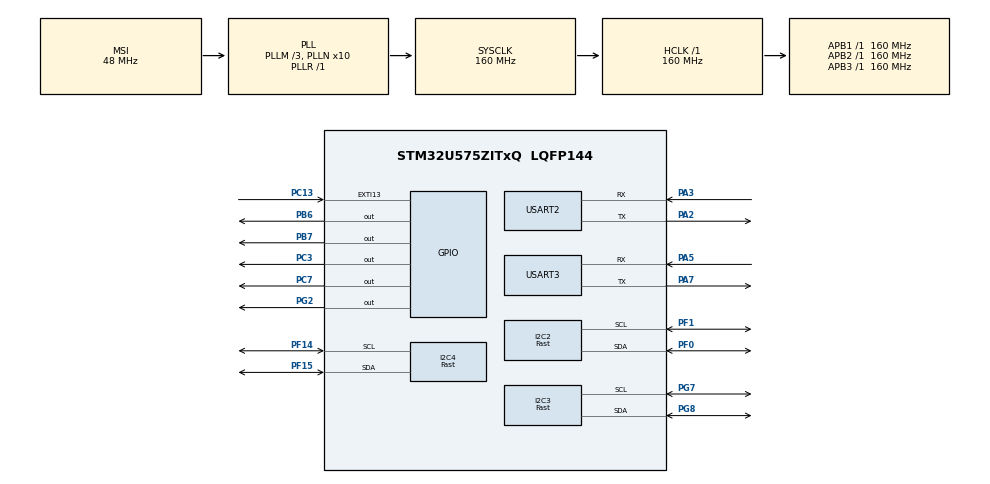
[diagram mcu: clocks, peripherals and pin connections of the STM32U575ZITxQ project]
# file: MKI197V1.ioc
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CORTEX_M33_NS.userName=CORTEX_M33
I2C2.I2C_Speed_Mode=I2C_Fast
I2C2.Timing=0x00F07BFF
I2C3.I2C_Speed_Mode=I2C_Fast
I2C3.Timing=0x00F07BFF
I2C4.I2C_Speed_Mode=I2C_Fast
I2C4.Timing=0x00F07BFF
Mcu.Family=STM32U5
Mcu.Name=STM32U575ZITxQ
Mcu.Package=LQFP144
NUCLEO-U575ZI-Q.BUTTON=1
NUCLEO-U575ZI-Q.LD1=true
NUCLEO-U575ZI-Q.LD2=true
NUCLEO-U575ZI-Q.LD3=true
NUCLEO-U575ZI-Q.VCP=true
NVIC.EXTI13_IRQn=true\:0\:0\:false\:false\:true\:false\:true\:true
NVIC.PriorityGroup=NVIC_PRIORITYGROUP_3
NVIC.TIM17_IRQn=true\:7\:0\:false\:false\:true\:false\:true\:true
NVIC.TimeBase=TIM17_IRQn
NVIC.TimeBaseIP=TIM17
PA10.Signal=USART1_RX
PA13\ (JTMS/SWDIO).Signal=DEBUG_JTMS-SWDIO
PA14\ (JTCK/SWCLK).Signal=DEBUG_JTCK-SWCLK
PA2.Mode=Asynchronous
PA2.Signal=USART2_TX
PA3.Mode=Asynchronous
PA3.Signal=USART2_RX
PA5.Mode=Asynchronous
PA5.Signal=USART3_RX
PA7.Mode=Asynchronous
PA7.Signal=USART3_TX
PA9.Signal=USART1_TX
PB3\ (JTDO/TRACESWO).Signal=DEBUG_JTDO-SWO
PB6.Signal=GPIO_Output
PB7.Signal=GPIO_Output
PC13.Signal=GPXTI13
PC14-OSC32_IN\ (PC14).Signal=RCC_OSC32_IN
PC15-OSC32_OUT\ (PC15).Signal=RCC_OSC32_OUT
PC3.Signal=GPIO_Output
PC7.Signal=GPIO_Output
PF0.Mode=I2C
PF0.Signal=I2C2_SDA
PF1.Mode=I2C
PF1.Signal=I2C2_SCL
PF14.Mode=I2C
PF14.Signal=I2C4_SCL
PF15.Mode=I2C
PF15.Signal=I2C4_SDA
PG2.Signal=GPIO_Output
PG7.Mode=I2C
PG7.Signal=I2C3_SCL
PG8.Mode=I2C
PG8.Signal=I2C3_SDA
PWR.PowerMode=PWR_SMPS_SUPPLY
ProjectManager.HeapSize=0x200
ProjectManager.StackSize=0x400
ProjectManager.TargetToolchain=STM32CubeIDE
RCC.ADCFreq_Value=16000000
RCC.AHBFreq_Value=160000000
RCC.APB1Freq_Value=160000000
RCC.APB1TimFreq_Value=160000000
RCC.APB2Freq_Value=160000000
RCC.APB2TimFreq_Value=160000000
RCC.APB3Freq_Value=160000000
RCC.CortexFreq_Value=160000000
RCC.DACCLockSelectionVirtual=RCC_DAC1CLKSOURCE_LSI
RCC.EPOD_VALUE=48000000
RCC.HCLKFreq_Value=160000000
RCC.HSE_VALUE=16000000
RCC.HSI48_VALUE=48000000
RCC.HSI_VALUE=16000000
RCC.LSE_VALUE=32768
RCC.LSIDIV_VALUE=32000
RCC.MSIClockRange=RCC_MSIRANGE_0
RCC.MSI_VALUE=48000000
RCC.PLL1R=1
RCC.PLL2FRACN=0
RCC.PLL3FRACN=0
RCC.PLLFRACN=0
RCC.PLLM=3
RCC.PLLN=10
RCC.SYSCLKFreq_VALUE=160000000
RCC.SYSCLKSource=RCC_SYSCLKSOURCE_PLLCLK
RCC.USBFreq_Value=48000000
RCC.VCOOutputFreq_Value=160000000
USART2.VirtualMode-Asynchronous=VM_ASYNC
USART3.VirtualMode-Asynchronous=VM_ASYNC
VP_ICACHE_VS_ENABLE_ICACHE_MEMORY.Mode=Memoryregions
VP_ICACHE_VS_ICACHE.Mode=DirectMappedCache
VP_LPBAMQUEUE_VS_QUEUE.Mode=QUEUEMODE
VP_LPBAM_VS_SIG1.Mode=SmartRun
VP_LPBAM_VS_SIG4.Mode=LPDMA1
VP_MEMORYMAP_VS_MEMORYMAP.Mode=CurAppReg
VP_NUCLEO-U575ZI-Q_VS_BSP_COMMON.Mode=COMMON
VP_PWR_VS_DBSignals.Mode=DisableDeadBatterySignals
VP_PWR_VS_LPOM.Mode=PowerOptimisation
VP_PWR_VS_SECSignals.Mode=Security/Privilege
VP_SYS_VS_tim17.Mode=TIM17
board=NUCLEO-U575ZI-Q

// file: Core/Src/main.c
/* USER CODE BEGIN Header */
/**
  ******************************************************************************
  * @file           : main.c
  * @brief          : Main program body
  ******************************************************************************
  * @attention
  *
  * Copyright (c) 2025 STMicroelectronics.
  * All rights reserved.
  *
  * This software is licensed under terms that can be found in the LICENSE file
  * in the root directory of this software component.
  * If no LICENSE file comes with this software, it is provided AS-IS.
  *
  ******************************************************************************
  */
/* USER CODE END Header */
#include "main.h"

/* USER CODE BEGIN Includes */
#include "bmi2.h"
#include "mis2dh.h"
#include "lsm6dsox.h"
#include "bmi270.h"
#include "pitch_utils.h"
#include "angle.h"
#include "motion_analysis.h"
#include "uart_comm.h"
#include "calibratebasepitch.h"
#include "gyro_calibration.h"
#include <stdio.h>
#include <string.h>

/* USER CODE END Includes */

COM_InitTypeDef BspCOMInit;

I2C_HandleTypeDef hi2c2;
I2C_HandleTypeDef hi2c3;
I2C_HandleTypeDef hi2c4;

UART_HandleTypeDef huart2;
UART_HandleTypeDef huart3;

/* USER CODE BEGIN PV */
// Globale Variablen für BMI270
/* USER CODE END PV */

void SystemClock_Config(void);
static void SystemPower_Config(void);
static void MX_GPIO_Init(void);
static void MX_ICACHE_Init(void);
static void MX_I2C2_Init(void);
static void MX_USART2_UART_Init(void);
static void MX_USART3_UART_Init(void);
static void MX_I2C4_Init(void);
static void MX_I2C3_Init(void);
/* USER CODE BEGIN PFP */
#define DEMCR *((volatile uint32_t*) 0xE000EDFCu)
#define ITM_TCR     (*(volatile uint32_t*)0xE0000E80)
#define ITM_TER     (*(volatile uint32_t*)0xE0000E00)

void Enable_ITM_Trace(void) {
    DEMCR |= (1 << 24);    // TRCENA: enable trace and debug
    ITM_TCR |= 1;          // ITM enable
    ITM_TER |= 1;          // Stimulus port 0 enable
}

/* USER CODE END PFP */

/* USER CODE BEGIN 0 */

// function to get the Address of the pin I2C
void scan_i2c_bus(I2C_HandleTypeDef *hi2c) {
    printf("Scanning I2C bus...\r\n");
    for (uint8_t addr = 0; addr < 128; addr++) {
        if (HAL_I2C_IsDeviceReady(hi2c, addr << 1, 1, 10) == HAL_OK) {
            printf("Found device at 0x%02X\r\n", addr);
        }
    }
}

// for mis2dh
// --- simple mg scaling for MIS2DH HR mode (typical sensitivities) ---
static float mis2dh_lsb_to_mg(int16_t raw, mis2dh_fs_t fs) {
    float mg_per_lsb = 1.0f; // ±2g
    switch (fs) {
        case MIS2DH_FS_2G:  mg_per_lsb = 1.0f;  break;
        case MIS2DH_FS_4G:  mg_per_lsb = 2.0f;  break;
        case MIS2DH_FS_8G:  mg_per_lsb = 4.0f;  break;
        case MIS2DH_FS_16G: mg_per_lsb = 12.0f; break;
    }
    return raw * mg_per_lsb;
}

// --- Mini I2C-Scanner --------------------------
static void I2C_Scan(I2C_HandleTypeDef *hi2c)
{
    printf("\r\n[I2C] Scanning bus...\r\n");

    for (uint8_t addr7 = 0x03; addr7 < 0x78; addr7++) {
        uint16_t addr8 = addr7 << 1;  // HAL erwartet 8-bit-Adresse
        if (HAL_I2C_IsDeviceReady(hi2c, addr8, 2, 10) == HAL_OK) {
            printf("  -> Found device at 7-bit 0x%02X (8-bit 0x%02X)\r\n", addr7, addr8);
        }
    }

    printf("[I2C] Scan done.\r\n");
}
// -----------------------------------------------

// für UART Ausgabe
//int _write(int file, char *ptr, int len)
//{
//  for (int i = 0; i < len; i++)
//  {
//    ITM_SendChar((uint32_t)*ptr++);
//  }
//  return len;
//}

/* Debug Exception and Monitor Control Register base address */
/* ITM register addresses */
#define ITM_STIMULUS_PORT0 *((volatile uint32_t*) 0xE0000000u)
#define ITM_TRACE_EN *((volatile uint32_t*) 0xE0000E00u)
/* Send a char through ITM */

/* USER CODE END 0 */

int main(void)
{

  /* MCU Configuration--------------------------------------------------------*/

  /* Reset of all peripherals, Initializes the Flash interface and the Systick. */
  HAL_Init();

  /* Configure the System Power */
  SystemPower_Config();

  /* Configure the system clock */
  SystemClock_Config();

  /* Initialize all configured peripherals */
  MX_GPIO_Init();
  MX_ICACHE_Init();
  MX_I2C2_Init();
  MX_USART2_UART_Init();
  MX_USART3_UART_Init();
  MX_I2C4_Init();
  MX_I2C3_Init();
  /* USER CODE BEGIN 2 */
  //Enable_ITM_Trace();
  // <--- WICHTIG!

  /* USER CODE END 2 */

  /* Initialize leds */
  BSP_LED_Init(LED_GREEN);
  BSP_LED_Init(LED_BLUE);
  BSP_LED_Init(LED_RED);

  /* Initialize USER push-button, will be used to trigger an interrupt each time it's pressed.*/
  BSP_PB_Init(BUTTON_USER, BUTTON_MODE_EXTI);

  /* Initialize COM1 port (115200, 8 bits (7-bit data + 1 stop bit), no parity */
  BspCOMInit.BaudRate   = 115200;
  BspCOMInit.WordLength = COM_WORDLENGTH_8B;
  BspCOMInit.StopBits   = COM_STOPBITS_1;
  BspCOMInit.Parity     = COM_PARITY_NONE;
  BspCOMInit.HwFlowCtl  = COM_HWCONTROL_NONE;
  if (BSP_COM_Init(COM1, &BspCOMInit) != BSP_ERROR_NONE)
  {
    Error_Handler();
  }

  /* Infinite loop */
  /* USER CODE BEGIN WHILE */

  HAL_Delay(10);
  /* für Sensor MKI197V1*/
  LSM6DSOX_Init(&hi2c2);

  // sensor mis2dh

//  uint16_t mis2dh_addr = MIS2DH_SA0_LOW_ADDR; // or MIS2DH_SA0_LOW_ADDR
//  HAL_Delay(10);
//
//  if (!MIS2DH_Init(&hi2c3, mis2dh_addr, MIS2DH_ODR_100HZ, MIS2DH_FS_2G, false)) {
//      printf("MIS2DH init failed\r\n");
//      I2C_Scan(&hi2c3);
//      Error_Handler();
//  }
//  printf("MIS2DH ready\r\n");
//
//  int16_t ax, ay, az;               // declare ONCE
//  const mis2dh_fs_t fs = MIS2DH_FS_2G;

// Sensor bmi270
  /* BMI270 Init (I2C4) */
//  if (HAL_I2C_IsDeviceReady(&hi2c4, BMI270_I2C_ADDR, 2, 100) != HAL_OK) {
//      printf("BMI270 not responding at 0x%02X\r\n", BMI270_I2C_ADDR >> 1);
//      Error_Handler();
//  }
//  if (!BMI270_Init(&hi2c4)) {
//      printf("BMI270 init failed!\r\n");
//      Error_Handler();
//  }

//  bmi2_set_command_register(BMI2_FIFO_FLUSH_CMD, BMI270_GetDev());

  HAL_Delay(30); // FIFO mit ersten Samples füllen

  float base_pitch = CalibrateBasePitch(&hi2c2);
  float gyroBias = CalibrateGyroBias(&hi2c2);

  //float base_pitch = Get_Base_Pitch(&hi2c2);
  printf("Basiswinkel=%.2f°, GyroBias=%.2f°/s\n", base_pitch, gyroBias);

  while (1)
  {

	    // für Sensor MKI197V1
	    Motion_Process_Improved(&hi2c2, base_pitch, gyroBias, HAL_GetTick());
	    //I2C_Scan(&hi2c2);

	    // für Sensor BMI270
	  //Motion_Process_270(&hi2c4, base_pitch, gyroBias, HAL_GetTick());

	  // für MIS2dh sensor
//      if (mis2dh_readxyz(&hi2c3, mis2dh_addr, &ax, &ay, &az) == hal_ok) {
//          // raw lsbs
//          printf("mis2dh raw:  x=%d  y=%d  z=%d\r\n", ax, ay, az);
//
//          float xmg = mis2dh_lsb_to_mg(ax, fs);
//          float ymg = mis2dh_lsb_to_mg(ay, fs);
//          float zmg = mis2dh_lsb_to_mg(az, fs);
//          printf("mis2dh [mg]: x=%.1f  y=%.1f  z=%.1f\r\n", xmg, ymg, zmg);
//      }
//      hal_delay(100); // ~10 hz prints

    /* USER CODE END WHILE */

  }
}

void SystemClock_Config(void)
{
  RCC_OscInitTypeDef RCC_OscInitStruct = {0};
  RCC_ClkInitTypeDef RCC_ClkInitStruct = {0};

  /** Configure the main internal regulator output voltage
  */
  if (HAL_PWREx_ControlVoltageScaling(PWR_REGULATOR_VOLTAGE_SCALE1) != HAL_OK)
  {
    Error_Handler();
  }

  /** Initializes the CPU, AHB and APB buses clocks
  */
  RCC_OscInitStruct.OscillatorType = RCC_OSCILLATORTYPE_MSI;
  RCC_OscInitStruct.MSIState = RCC_MSI_ON;
  RCC_OscInitStruct.MSICalibrationValue = RCC_MSICALIBRATION_DEFAULT;
  RCC_OscInitStruct.MSIClockRange = RCC_MSIRANGE_0;
  RCC_OscInitStruct.PLL.PLLState = RCC_PLL_ON;
  RCC_OscInitStruct.PLL.PLLSource = RCC_PLLSOURCE_MSI;
  RCC_OscInitStruct.PLL.PLLMBOOST = RCC_PLLMBOOST_DIV4;
  RCC_OscInitStruct.PLL.PLLM = 3;
  RCC_OscInitStruct.PLL.PLLN = 10;
  RCC_OscInitStruct.PLL.PLLP = 2;
  RCC_OscInitStruct.PLL.PLLQ = 2;
  RCC_OscInitStruct.PLL.PLLR = 1;
  RCC_OscInitStruct.PLL.PLLRGE = RCC_PLLVCIRANGE_1;
  RCC_OscInitStruct.PLL.PLLFRACN = 0;
  if (HAL_RCC_OscConfig(&RCC_OscInitStruct) != HAL_OK)
  {
    Error_Handler();
  }

  /** Initializes the CPU, AHB and APB buses clocks
  */
  RCC_ClkInitStruct.ClockType = RCC_CLOCKTYPE_HCLK|RCC_CLOCKTYPE_SYSCLK
                              |RCC_CLOCKTYPE_PCLK1|RCC_CLOCKTYPE_PCLK2
                              |RCC_CLOCKTYPE_PCLK3;
  RCC_ClkInitStruct.SYSCLKSource = RCC_SYSCLKSOURCE_PLLCLK;
  RCC_ClkInitStruct.AHBCLKDivider = RCC_SYSCLK_DIV1;
  RCC_ClkInitStruct.APB1CLKDivider = RCC_HCLK_DIV1;
  RCC_ClkInitStruct.APB2CLKDivider = RCC_HCLK_DIV1;
  RCC_ClkInitStruct.APB3CLKDivider = RCC_HCLK_DIV1;

  if (HAL_RCC_ClockConfig(&RCC_ClkInitStruct, FLASH_LATENCY_4) != HAL_OK)
  {
    Error_Handler();
  }
}

/**
  * @brief Power Configuration
  * @retval None
  */
static void SystemPower_Config(void)
{
  HAL_PWREx_EnableVddIO2();

  /*
   * Disable the internal Pull-Up in Dead Battery pins of UCPD peripheral
   */
  HAL_PWREx_DisableUCPDDeadBattery();

  /*
   * Switch to SMPS regulator instead of LDO
   */
  if (HAL_PWREx_ConfigSupply(PWR_SMPS_SUPPLY) != HAL_OK)
  {
    Error_Handler();
  }
}

static void MX_I2C2_Init(void)
{

  hi2c2.Instance = I2C2;
  hi2c2.Init.Timing = 0x00F07BFF;
  hi2c2.Init.OwnAddress1 = 0;
  hi2c2.Init.AddressingMode = I2C_ADDRESSINGMODE_7BIT;
  hi2c2.Init.DualAddressMode = I2C_DUALADDRESS_DISABLE;
  hi2c2.Init.OwnAddress2 = 0;
  hi2c2.Init.OwnAddress2Masks = I2C_OA2_NOMASK;
  hi2c2.Init.GeneralCallMode = I2C_GENERALCALL_DISABLE;
  hi2c2.Init.NoStretchMode = I2C_NOSTRETCH_DISABLE;
  if (HAL_I2C_Init(&hi2c2) != HAL_OK)
  {
    Error_Handler();
  }

  /** Configure Analogue filter
  */
  if (HAL_I2CEx_ConfigAnalogFilter(&hi2c2, I2C_ANALOGFILTER_ENABLE) != HAL_OK)
  {
    Error_Handler();
  }

  /** Configure Digital filter
  */
  if (HAL_I2CEx_ConfigDigitalFilter(&hi2c2, 0) != HAL_OK)
  {
    Error_Handler();
  }

}

static void MX_I2C3_Init(void)
{

  hi2c3.Instance = I2C3;
  hi2c3.Init.Timing = 0x00F07BFF;
  hi2c3.Init.OwnAddress1 = 0;
  hi2c3.Init.AddressingMode = I2C_ADDRESSINGMODE_7BIT;
  hi2c3.Init.DualAddressMode = I2C_DUALADDRESS_DISABLE;
  hi2c3.Init.OwnAddress2 = 0;
  hi2c3.Init.OwnAddress2Masks = I2C_OA2_NOMASK;
  hi2c3.Init.GeneralCallMode = I2C_GENERALCALL_DISABLE;
  hi2c3.Init.NoStretchMode = I2C_NOSTRETCH_DISABLE;
  if (HAL_I2C_Init(&hi2c3) != HAL_OK)
  {
    Error_Handler();
  }

  /** Configure Analogue filter
  */
  if (HAL_I2CEx_ConfigAnalogFilter(&hi2c3, I2C_ANALOGFILTER_ENABLE) != HAL_OK)
  {
    Error_Handler();
  }

  /** Configure Digital filter
  */
  if (HAL_I2CEx_ConfigDigitalFilter(&hi2c3, 0) != HAL_OK)
  {
    Error_Handler();
  }

}

static void MX_I2C4_Init(void)
{

  hi2c4.Instance = I2C4;
  hi2c4.Init.Timing = 0x00F07BFF;
  hi2c4.Init.OwnAddress1 = 0;
  hi2c4.Init.AddressingMode = I2C_ADDRESSINGMODE_7BIT;
  hi2c4.Init.DualAddressMode = I2C_DUALADDRESS_DISABLE;
  hi2c4.Init.OwnAddress2 = 0;
  hi2c4.Init.OwnAddress2Masks = I2C_OA2_NOMASK;
  hi2c4.Init.GeneralCallMode = I2C_GENERALCALL_DISABLE;
  hi2c4.Init.NoStretchMode = I2C_NOSTRETCH_DISABLE;
  if (HAL_I2C_Init(&hi2c4) != HAL_OK)
  {
    Error_Handler();
  }

  /** Configure Analogue filter
  */
  if (HAL_I2CEx_ConfigAnalogFilter(&hi2c4, I2C_ANALOGFILTER_ENABLE) != HAL_OK)
  {
    Error_Handler();
  }

  /** Configure Digital filter
  */
  if (HAL_I2CEx_ConfigDigitalFilter(&hi2c4, 0) != HAL_OK)
  {
    Error_Handler();
  }

}

static void MX_ICACHE_Init(void)
{

  /** Enable instruction cache in 1-way (direct mapped cache)
  */
  if (HAL_ICACHE_ConfigAssociativityMode(ICACHE_1WAY) != HAL_OK)
  {
    Error_Handler();
  }
  if (HAL_ICACHE_Enable() != HAL_OK)
  {
    Error_Handler();
  }

}

static void MX_USART2_UART_Init(void)
{

  huart2.Instance = USART2;
  huart2.Init.BaudRate = 115200;
  huart2.Init.WordLength = UART_WORDLENGTH_8B;
  huart2.Init.StopBits = UART_STOPBITS_1;
  huart2.Init.Parity = UART_PARITY_NONE;
  huart2.Init.Mode = UART_MODE_TX_RX;
  huart2.Init.HwFlowCtl = UART_HWCONTROL_NONE;
  huart2.Init.OverSampling = UART_OVERSAMPLING_16;
  huart2.Init.OneBitSampling = UART_ONE_BIT_SAMPLE_DISABLE;
  huart2.Init.ClockPrescaler = UART_PRESCALER_DIV1;
  huart2.AdvancedInit.AdvFeatureInit = UART_ADVFEATURE_NO_INIT;
  if (HAL_UART_Init(&huart2) != HAL_OK)
  {
    Error_Handler();
  }
  if (HAL_UARTEx_SetTxFifoThreshold(&huart2, UART_TXFIFO_THRESHOLD_1_8) != HAL_OK)
  {
    Error_Handler();
  }
  if (HAL_UARTEx_SetRxFifoThreshold(&huart2, UART_RXFIFO_THRESHOLD_1_8) != HAL_OK)
  {
    Error_Handler();
  }
  if (HAL_UARTEx_DisableFifoMode(&huart2) != HAL_OK)
  {
    Error_Handler();
  }

}

static void MX_USART3_UART_Init(void)
{

  huart3.Instance = USART3;
  huart3.Init.BaudRate = 115200;
  huart3.Init.WordLength = UART_WORDLENGTH_8B;
  huart3.Init.StopBits = UART_STOPBITS_1;
  huart3.Init.Parity = UART_PARITY_NONE;
  huart3.Init.Mode = UART_MODE_TX_RX;
  huart3.Init.HwFlowCtl = UART_HWCONTROL_NONE;
  huart3.Init.OverSampling = UART_OVERSAMPLING_16;
  huart3.Init.OneBitSampling = UART_ONE_BIT_SAMPLE_DISABLE;
  huart3.Init.ClockPrescaler = UART_PRESCALER_DIV1;
  huart3.AdvancedInit.AdvFeatureInit = UART_ADVFEATURE_NO_INIT;
  if (HAL_UART_Init(&huart3) != HAL_OK)
  {
    Error_Handler();
  }
  if (HAL_UARTEx_SetTxFifoThreshold(&huart3, UART_TXFIFO_THRESHOLD_1_8) != HAL_OK)
  {
    Error_Handler();
  }
  if (HAL_UARTEx_SetRxFifoThreshold(&huart3, UART_RXFIFO_THRESHOLD_1_8) != HAL_OK)
  {
    Error_Handler();
  }
  if (HAL_UARTEx_DisableFifoMode(&huart3) != HAL_OK)
  {
    Error_Handler();
  }

}

static void MX_GPIO_Init(void)
{
  GPIO_InitTypeDef GPIO_InitStruct = {0};

  /* GPIO Ports Clock Enable */
  __HAL_RCC_GPIOC_CLK_ENABLE();
  __HAL_RCC_GPIOF_CLK_ENABLE();
  __HAL_RCC_GPIOA_CLK_ENABLE();
  __HAL_RCC_GPIOG_CLK_ENABLE();
  __HAL_RCC_GPIOB_CLK_ENABLE();

  /*Configure GPIO pin Output Level */
  HAL_GPIO_WritePin(GPIOC, GPIO_PIN_3, GPIO_PIN_RESET);

  /*Configure GPIO pin Output Level */
  HAL_GPIO_WritePin(GPIOB, GPIO_PIN_6, GPIO_PIN_RESET);

  /*Configure GPIO pin : PC3 */
  GPIO_InitStruct.Pin = GPIO_PIN_3;
  GPIO_InitStruct.Mode = GPIO_MODE_OUTPUT_PP;
  GPIO_InitStruct.Pull = GPIO_NOPULL;
  GPIO_InitStruct.Speed = GPIO_SPEED_FREQ_LOW;
  HAL_GPIO_Init(GPIOC, &GPIO_InitStruct);

  /*Configure GPIO pin : PB6 */
  GPIO_InitStruct.Pin = GPIO_PIN_6;
  GPIO_InitStruct.Mode = GPIO_MODE_OUTPUT_PP;
  GPIO_InitStruct.Pull = GPIO_NOPULL;
  GPIO_InitStruct.Speed = GPIO_SPEED_FREQ_LOW;
  HAL_GPIO_Init(GPIOB, &GPIO_InitStruct);

}

void HAL_TIM_PeriodElapsedCallback(TIM_HandleTypeDef *htim)
{
  if (htim->Instance == TIM17)
  {
    HAL_IncTick();
  }
}

void Error_Handler(void)
{
  __disable_irq();
  while (1)
  {
  }
}
